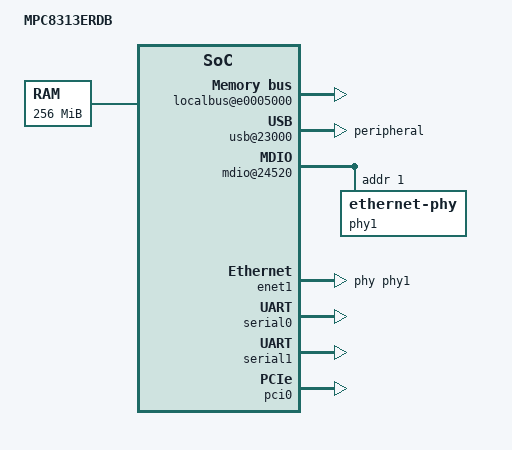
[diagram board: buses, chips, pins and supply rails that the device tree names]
/*
 * AJ-HPX3100(K292) Device Tree Source
 *
 * Copyright 2005, 2006, 2007 Freescale Semiconductor Inc.
 *
 * This program is free software; you can redistribute  it and/or modify it
 * under  the terms of  the GNU General  Public License as published by the
 * Free Software Foundation;  either version 2 of the  License, or (at your
 * option) any later version.
 */

/dts-v1/;

/ {
	model = "MPC8313ERDB";
	compatible = "MPC8313ERDB", "MPC831xRDB", "MPC83xxRDB";
	#address-cells = <1>;
	#size-cells = <1>;

	aliases {
		ethernet0 = &enet0;
		ethernet1 = &enet1;
		serial0 = &serial0;
		serial1 = &serial1;
		pci0 = &pci0;
	};

	cpus {
		#address-cells = <1>;
		#size-cells = <0>;

		PowerPC,8313@0 {
			device_type = "cpu";
			reg = <0x0>;
			d-cache-line-size = <32>;
			i-cache-line-size = <32>;
			d-cache-size = <16384>;
			i-cache-size = <16384>;
			timebase-frequency = <0>;	// from bootloader
			bus-frequency = <0>;		// from bootloader
			clock-frequency = <0>;		// from bootloader
		};
	};

	memory {
		device_type = "memory";
		reg = <0x00000000 0x10000000>;	// 256MB at 0
	};

	localbus@e0005000 {
		#address-cells = <2>;
		#size-cells = <1>;
		compatible = "fsl,mpc8313-elbc", "fsl,elbc", "simple-bus";
		reg = <0xe0005000 0x1000>;
		interrupts = <77 0x8>;
		interrupt-parent = <&ipic>;

		// CS0 and CS1 are swapped when
		// booting from nand, but the
		// addresses are the same.
		ranges = <0x0 0x0 0xf0000000 0x04000000   /* 64MB at 0xf0000000 */
		          0x1 0x0 0xe8000000 0x00008000>; /* PQCNT_FPGA register 32KB */

		/*flash@0,0 {
			#address-cells = <1>;
			#size-cells = <1>;
			compatible = "cfi-flash";
			reg = <0x0 0x0 0x800000>;
			bank-width = <2>;
			device-width = <1>;
		};*/ /* Modified by Panasonic. FIXME! */

		/*nand@1,0 {
			#address-cells = <1>;
			#size-cells = <1>;
			compatible = "fsl,mpc8313-fcm-nand",
			             "fsl,elbc-fcm-nand";
			reg = <0x1 0x0 0x2000>;

			u-boot@0 {
				reg = <0x0 0x100000>;
				read-only;
			};

			kernel@100000 {
				reg = <0x100000 0x300000>;
			};

			fs@400000 {
				reg = <0x400000 0x1c00000>;
			};
		};*/ /* Modified by Panasonic. FIXME!! */
	};

	soc8313@e0000000 {
		#address-cells = <1>;
		#size-cells = <1>;
		device_type = "soc";
		compatible = "simple-bus";
		ranges = <0x0 0xe0000000 0x00100000>;
		reg = <0xe0000000 0x00000200>;
		bus-frequency = <0>;

		wdt@200 {
			device_type = "watchdog";
			compatible = "mpc83xx_wdt";
			reg = <0x200 0x100>;
		};

		dma@8000 { /* Added by Panasonic */
			device_type = "dma";
			compatible = "fsl-dma";
			reg = <0x8000 0x300>;
			interrupts = <71 0x8>;
			interrupt-parent = < &ipic >;
		};

		/* phy type (ULPI, UTMI, UTMI_WIDE, SERIAL) */
		usb@23000 {
			compatible = "fsl-usb2-dr";
			reg = <0x23000 0x1000>;
			#address-cells = <1>;
			#size-cells = <0>;
			interrupt-parent = <&ipic>;
			interrupts = <38 0x8>;
			phy_type = "utmi";          /* Modified by Panasonic */
			phy_clk  = "24mhz";         /* Added by Panasonic */
			dr_mode = "peripheral";     /* for DEVICE */
			max_ep_nr = <3>;            /* Added by Panasonic */
		};

		mdio@24520 {
			#address-cells = <1>;
			#size-cells = <0>;
			compatible = "fsl,gianfar-mdio";
			reg = <0x24520 0x20>;
			phy1: ethernet-phy@1 {
				reg = <0x1>;
				device_type = "ethernet-phy";
			};
		};

		enet0: ethernet@24000 {
			cell-index = <0>;
			device_type = "network";
			model = "eTSEC";
			compatible = "gianfar", "simple-bus";
			reg = <0x24000 0x1000>;
			local-mac-address = [ 00 00 00 00 00 00 ];
			interrupts = <32 0x8 33 0x8 34 0x8>;
			interrupt-parent = <&ipic>;
			fixed-link = <3 1 100 0 0>; // FIXME!!
			fsl,magic-packet;
		};

		enet1: ethernet@25000 {
			cell-index = <1>;
			device_type = "network";
			model = "eTSEC";
			compatible = "gianfar";
			reg = <0x25000 0x1000>;
			local-mac-address = [ 00 00 00 00 00 00 ];
			interrupts = <35 0x8 36 0x8 37 0x8>;
			interrupt-parent = <&ipic>;
			phy-handle = < &phy1 >;
			sleep = <&pmc 0x10000000>;
			fsl,magic-packet;
		};

		serial0: serial@4500 {
			cell-index = <0>;
			device_type = "serial";
			compatible = "ns16550";
			reg = <0x4500 0x100>;
			clock-frequency = <0>;
			interrupts = <9 0x8>;
			interrupt-parent = <&ipic>;
		};

		serial1: serial@4600 {
			cell-index = <1>;
			device_type = "serial";
			compatible = "ns16550";
			reg = <0x4600 0x100>;
			clock-frequency = <0>;
			interrupts = <10 0x8>;
			interrupt-parent = <&ipic>;
		};

		/* IPIC
		 * interrupts cell = <intr #, sense>
		 * sense values match linux IORESOURCE_IRQ_* defines:
		 * sense == 8: Level, low assertion
		 * sense == 2: Edge, high-to-low change
		 */
		ipic: pic@700 {
			interrupt-controller;
			#address-cells = <0>;
			#interrupt-cells = <2>;
			reg = <0x700 0x100>;
			device_type = "ipic";
		};

		pmc: power@b00 {
			compatible = "fsl,mpc8313-pmc", "fsl,mpc8349-pmc";
			reg = <0xb00 0x100 0xa00 0x100>;
			interrupts = <80 8>;
			interrupt-parent = <&ipic>;
			fsl,mpc8313-wakeup-timer = <&gtm1>;

			/* Remove this (or change to "okay") if you have
			 * a REVA3 or later board, if you apply one of the
			 * workarounds listed in section 8.5 of the board
			 * manual, or if you are adapting this device tree
			 * to a different board.
			 */
			status = "fail";
		};

		gtm1: timer@500 {
			compatible = "fsl,mpc8313-gtm", "fsl,gtm";
			reg = <0x500 0x100>;
			interrupts = <90 8 78 8 84 8 72 8>;
			interrupt-parent = <&ipic>;
		};
		timer@600 {
			compatible = "fsl,mpc8313-gtm", "fsl,gtm";
			reg = <0x600 0x100>;
			interrupts = <91 8 79 8 85 8 73 8>;
			interrupt-parent = <&ipic>;
		};
	};

	sleep-nexus {
		#address-cells = <1>;
		#size-cells = <1>;
		compatible = "simple-bus";
		sleep = <&pmc 0x00010000>;
		ranges;

		pci0: pci@e0008500 {
			cell-index = <1>;
			interrupt-map-mask = <0xf800 0x0 0x0 0x7>;
			interrupt-map = <
					/* IDSEL 0x11(17) : ZION */
					   0x8800 0x0 0x0 0x1 &ipic 0x11 0x8 /*INTA*/

					/* IDSEL 0x12(18) : Ricoh */
					   0x9000 0x0 0x0 0x1 &ipic 0x12 0x8 /*INTB*/
					   0x9000 0x0 0x0 0x2 &ipic 0x13 0x8 /*INTC*/
					   0x9000 0x0 0x0 0x3 &ipic 0x14 0x8 /*INTD*/
					>;
			interrupt-parent = <&ipic>;
			interrupts = <66 0x8>;
			bus-range = <0x0 0x0>;
			ranges = <0x02000000 0x0 0x90000000 0x90000000 0x0 0x10000000
				  0x42000000 0x0 0x80000000 0x80000000 0x0 0x10000000
				  0x01000000 0x0 0x00000000 0xe2000000 0x0 0x00100000>;
			clock-frequency = <0>;
			#interrupt-cells = <1>;
			#size-cells = <2>;
			#address-cells = <3>;
			reg = <0xe0008500 0x100>;
			compatible = "fsl,mpc8349-pci";
			device_type = "pci";
		};
	};
};
